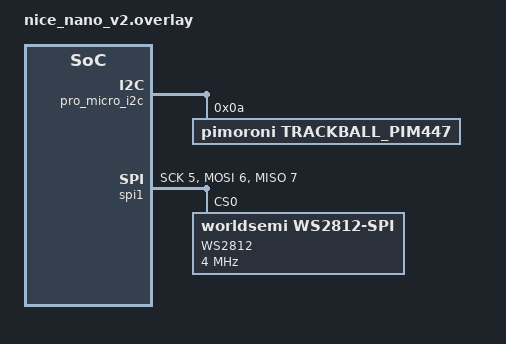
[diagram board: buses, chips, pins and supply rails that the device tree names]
// trackball:
// https://github.com/cdc-mkb/zmk/blob/mouse-pim447/docs/docs/behaviors/trackball-pim447.md
#include <dt-bindings/zmk/trackball_pim447.h> // for PIM447_MOVE and PIM447_SCROLL constants.
&pro_micro_i2c {
	status = "okay";

	trackball_pim447@a {
		compatible = "pimoroni,trackball_pim447";
		reg = <0xa>;
		label = "TRACKBALL_PIM447";

		move-factor = <2>;      // Increase pointer velocity (default: 1)
		invert-move-x;          // Invert pointer X axis (left is right, and vice versa)
		// invert-move-y;          // Invert pointer Y axis (up is down, and vice versa)
		button = <0>;           // Send right-click when pressing the ball (default: 0, ie. left-click)
		swap-axes;              // Swap X and Y axes (horizontal is vertical, and vice versa)
		scroll-divisor = <1>;   // Increase wheel velocity (default: 2)
		invert-scroll-x;        // Invert wheel X axis (left is right, and vice versa)
		invert-scroll-y;        // Invert wheel Y axis (up is down, and vice versa)
		mode = <PIM447_MOVE>; // Act as mouse wheels at startup (default: PIM447_MOVE for a pointer)
	};
};
 


/*
 * Temporarily here because nice nano v2 spi is not defined on ZMK yet
 */

// leds:
&spi1 {
	compatible = "nordic,nrf-spim";
	status = "okay";
	mosi-pin = <6>;
	// Unused pins, needed for SPI definition, but not used by the ws2812 driver itself.
	sck-pin = <5>;
	miso-pin = <7>;

	led_strip: ws2812@0 {
		compatible = "worldsemi,ws2812-spi";
		label = "WS2812";

		/* SPI */
		reg = <0>; /* ignored, but necessary for SPI bindings */
		spi-max-frequency = <4000000>;

		/* WS2812 */
    	chain-length = <27>; /* number of LEDs */
		spi-one-frame = <0x70>;
		spi-zero-frame = <0x40>;
	};
};

/ {
   chosen {
      zmk,underglow = &led_strip;
   };
};

 /*
 * Temporarily here because nice nano v2 spi is not defined on ZMk Yet
 * Source: https://github.com/zmkfirmware/zmk/blob/main/app/boards/shields/reviung41/boards/nice_nano.overlay
 * GitHub Issue: https://github.com/zmkfirmware/zmk/issues/885
 */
